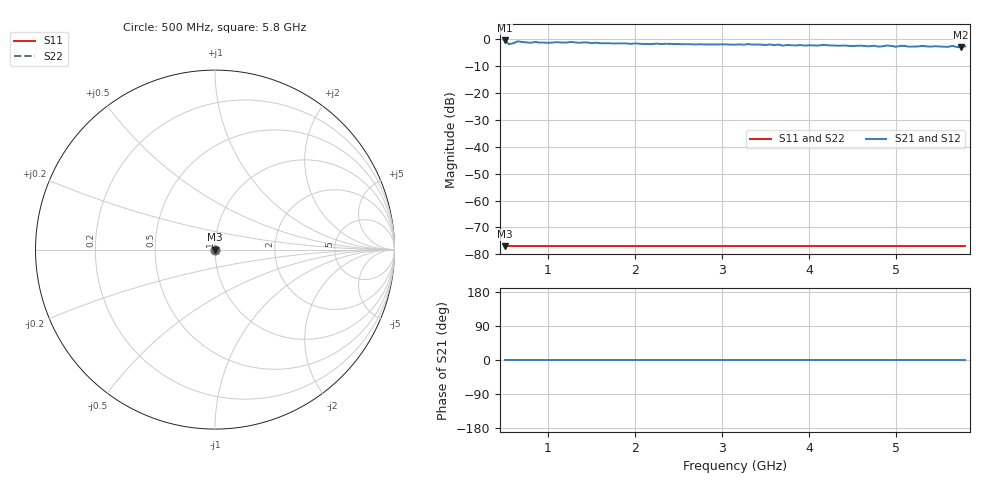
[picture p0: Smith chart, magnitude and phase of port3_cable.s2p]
# GHZ S RI R 50
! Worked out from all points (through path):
!   107 points, 500 MHz to 5.8 GHz, reference 50 ohm
!   highest |S21| = -0.36 dB at 500 MHz (marker M1); lowest = -2.8 dB at 5.75 GHz (marker M2)
!   lowest |S11| = -77.0 dB at 500 MHz (marker M3), VSWR 1.00, Z = 50 + j0.01 ohm
!   |S11| at or under -10 dB: start of sweep to end of sweep
!   |S22| runs from -77.0 to -77.0 dB; largest |S21 - S12| = 0
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0.5  0.0001 0.0001  0.9594 0  0.9594 0  0.0001 0.0001
0.55  0.0001 0.0001  0.8215 0  0.8215 0  0.0001 0.0001
0.65  0.0001 0.0001  0.9229 0  0.9229 0  0.0001 0.0001
0.8  0.0001 0.0001  0.8667 0  0.8667 0  0.0001 0.0001
0.85  0.0001 0.0001  0.9009 0  0.9009 0  0.0001 0.0001
1  0.0001 0.0001  0.8657 0  0.8657 0  0.0001 0.0001
1.4  0.0001 0.0001  0.8798 0  0.8798 0  0.0001 0.0001
2.3  0.0001 0.0001  0.8229 0  0.8229 0  0.0001 0.0001
3.15  0.0001 0.0001  0.7986 0  0.7986 0  0.0001 0.0001
3.3  0.0001 0.0001  0.8209 0  0.8209 0  0.0001 0.0001
3.65  0.0001 0.0001  0.8041 0  0.8041 0  0.0001 0.0001
3.7  0.0001 0.0001  0.7689 0  0.7689 0  0.0001 0.0001
4.05  0.0001 0.0001  0.7766 0  0.7766 0  0.0001 0.0001
4.75  0.0001 0.0001  0.7653 0  0.7653 0  0.0001 0.0001
4.8  0.0001 0.0001  0.7372 0  0.7372 0  0.0001 0.0001
4.95  0.0001 0.0001  0.7607 0  0.7607 0  0.0001 0.0001
5  0.0001 0.0001  0.7314 0  0.7314 0  0.0001 0.0001
5.3  0.0001 0.0001  0.7615 0  0.7615 0  0.0001 0.0001
5.6  0.0001 0.0001  0.7292 0  0.7292 0  0.0001 0.0001
5.65  0.0001 0.0001  0.7606 0  0.7606 0  0.0001 0.0001
5.75  0.0001 0.0001  0.7246 0  0.7246 0  0.0001 0.0001
5.8  0.0001 0.0001  0.7448 0  0.7448 0  0.0001 0.0001
